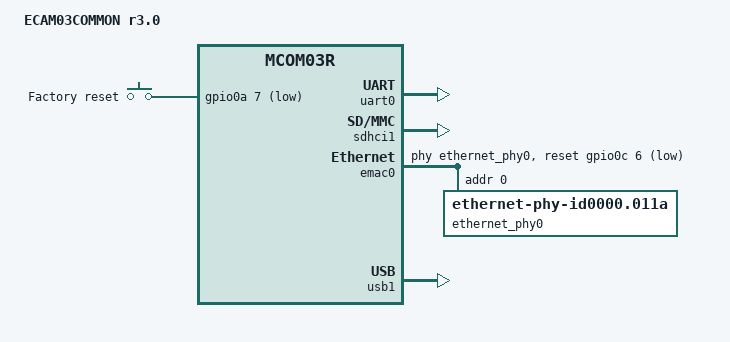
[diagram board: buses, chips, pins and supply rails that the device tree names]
// SPDX-License-Identifier: GPL-2.0+
// Copyright 2025 RnD Center "ELVEES", JSC

/dts-v1/;

#include "mcom03r-pm03cam-r3.0.dtsi"
#include <dt-bindings/gpio/gpio.h>
#include <dt-bindings/input/input.h>

/ {
	model = "ECAM03COMMON r3.0";
	compatible = "elvees,pm03cam-r3.0-ecam03common-r3.0",
		     "elvees,pm03cam-r3.0",
		     "elvees,mcom03r";

	gpio-keys {
		compatible = "gpio-keys";

		factory-reset {
			label = "Factory reset";
			gpios = <&gpio0a 7 GPIO_ACTIVE_LOW>;
			linux,code = <KEY_RESTART>;
		};
	};
};

&uart0 {
	status = "okay";

	clock-frequency = <27920454>;
};

&sdhci1 {
	status = "okay";

	/* Disable 1.8V support
	 * Disable SDR50, SDR104 and DDR50 support
	 */
	sdhci-caps-mask = <0x7 0x4000000>;
	sdhci-caps = <0x0 0x0>;
};

&emac0 {
	status = "okay";

	phy-handle = <&ethernet_phy0>;

	reset-gpios = <&gpio0c 6 GPIO_ACTIVE_LOW>;

	ethernet_phy0: ethernet-phy@0 {
		compatible = "ethernet-phy-id0000.011a", "ethernet-phy-ieee802.3-c22";
		reg = <0x0>;

		motorcomm,clk-out-frequency-hz = <0>;
		rx-internal-delay-ps = <1800>;
		tx-internal-delay-ps = <1200>;
	};
};

&usb1 {
	status = "okay";
	clocks = <&clock CLK_HSP_UCG0_USB1>,
		 <&clock CLK_HSP_UCG3_USB1_REF_ALT>,
		 <&clock CLK_HSP_UCG3_USB1_SUSPEND>;
	assigned-clocks = <&clock CLK_HSP_UCG0_USB1>,
			  <&clock CLK_HSP_UCG3_USB1_REF_ALT>,
			  <&clock CLK_HSP_UCG3_USB1_SUSPEND>;
	assigned-clock-rates = <125000000
				25000000
				25000000>;
	elvees,clk-ref-alt;

	dwc3@10100000 {
		dr_mode = "peripheral";
	};
};
